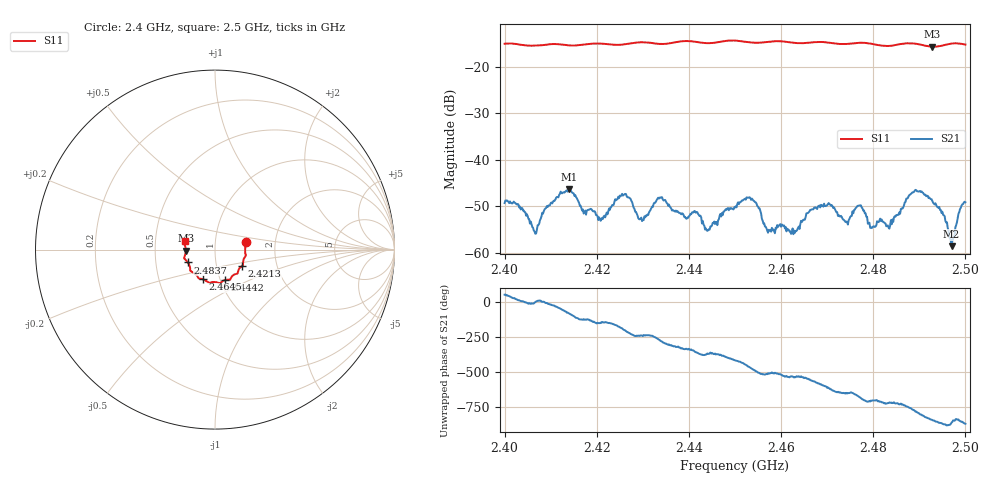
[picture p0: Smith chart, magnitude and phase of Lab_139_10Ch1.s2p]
# Hz S RI R 50
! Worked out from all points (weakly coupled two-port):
!   601 points, 2.4 GHz to 2.5 GHz, reference 50 ohm
!   highest |S21| = -46.41 dB at 2.414 GHz (marker M1); lowest = -58.6 dB at 2.497 GHz (marker M2)
!   lowest |S11| = -15.7 dB at 2.4928 GHz (marker M3), VSWR 1.39, Z = 35.9 - j0.387 ohm
!   |S11| at or under -10 dB: start of sweep to end of sweep
!   S12 and S22 are empty: the file has one direction only
!   S11 on the Smith chart (normalised r, x): 2.4 GHz: 1.41, +0.12; 2.4213 GHz: 1.33, -0.25; 2.4442 GHz: 1.05, -0.37; 2.4645 GHz: 0.83, -0.29; 2.4837 GHz: 0.73, -0.11; 2.5 GHz: 0.71, +0.07
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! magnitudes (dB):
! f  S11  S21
! 2.4 GHz  -15.1  -49.3
! 2.4065 GHz  -15.5  -55.5
! 2.414 GHz  -15.4  -46.4
! 2.4167 GHz  -15.3  -50.4
! 2.4213 GHz  -15.1  -52.7
! 2.4258 GHz  -15.2  -47.6
! 2.4297 GHz  -14.8  -52.5
! 2.4333 GHz  -15.1  -48.2
! 2.4442 GHz  -15.0  -55.2
! 2.45 GHz  -14.4  -50.3
! 2.4537 GHz  -14.8  -48.4
! 2.4573 GHz  -14.7  -55.1
! 2.4645 GHz  -15.0  -53.4
! 2.4667 GHz  -14.8  -50.7
! 2.4742 GHz  -15.1  -53.3
! 2.477 GHz  -14.9  -49.9
! 2.4833 GHz  -15.6  -54.6
! 2.4837 GHz  -15.5  -54.2
! 2.4888 GHz  -15.0  -46.9
! 2.4928 GHz  -15.7  -48.9
! 2.497 GHz  -15.0  -58.6
! 2.5 GHz  -15.3  -49.2
